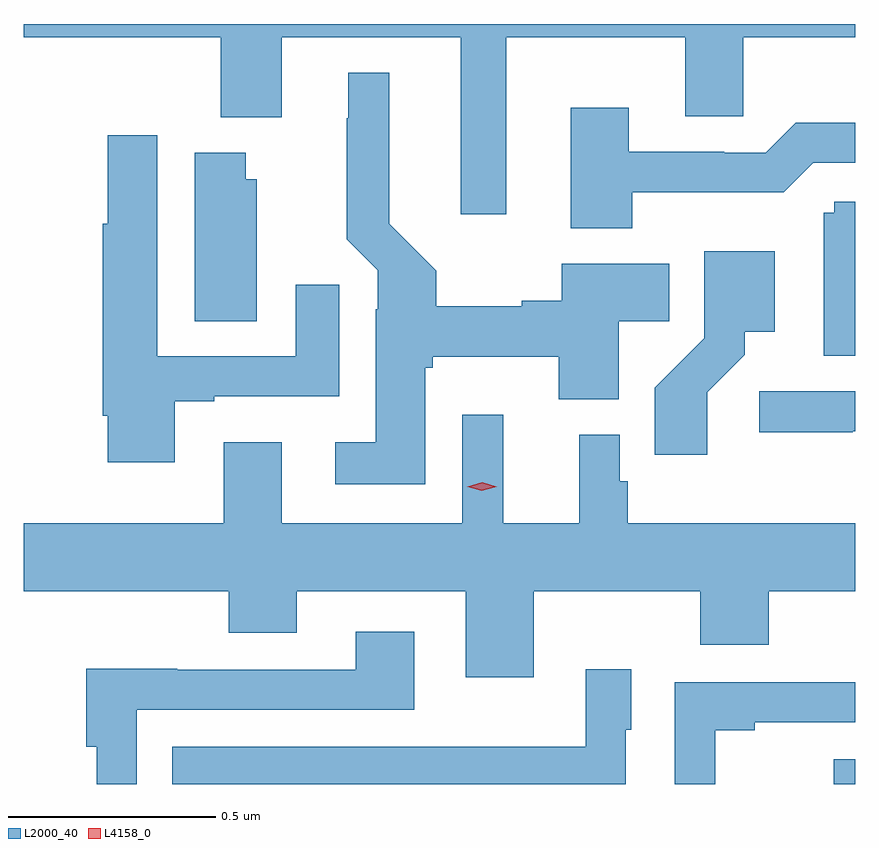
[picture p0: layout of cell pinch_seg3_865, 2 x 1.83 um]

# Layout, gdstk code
import gdstk
lib = gdstk.Library(unit=1e-6, precision=1e-09)
def R(c, l, rs):  # rectangles x0, y0, x1, y1
    for r in rs: c.add(gdstk.rectangle(r[:2], r[2:], *l))
def P(c, l, *ps):  # polygons
    for p in ps: c.add(gdstk.Polygon(p, *l))
L2000_40 = (2000, 40)
L4158_0 = (4158, 0)

pinch_seg3_865 = lib.new_cell('pinch_seg3_865')
R(pinch_seg3_865, L2000_40, [(730.556,747.073,730.608,747.133)])
P(pinch_seg3_865, L2000_40, [(728.608,748.868),(729.082,748.868),(729.082,748.676),(729.229,748.676),(729.229,748.868),(729.659,748.868),(729.659,748.443),(729.769,748.443),(729.769,748.868),(730.199,748.868),(730.199,748.678),(730.338,748.678),(730.338,748.868),(730.608,748.868),(730.608,748.9),(728.608,748.9)],
  [(729.574,748.074),(729.592,748.074),(729.592,748.1),(729.895,748.1),(729.895,747.998),(730.039,747.998),(730.039,748.186),(730.16,748.186),(730.16,748.324),(729.902,748.324),(729.902,748.235),(729.806,748.235),(729.806,748.222),(729.6,748.222),(729.6,748.307),(729.487,748.42),(729.487,748.783),(729.389,748.783),(729.389,748.673),(729.385,748.673),(729.385,748.382),(729.459,748.308),(729.459,748.214),(729.455,748.214),(729.455,747.895),(729.357,747.895),(729.357,747.794),(729.574,747.794)],
  [(730.071,748.496),(730.435,748.496),(730.506,748.566),(730.608,748.566),(730.608,748.663),(730.465,748.663),(730.392,748.59),(730.292,748.59),(730.292,748.593),(730.063,748.593),(730.063,748.699),(729.923,748.699),(729.923,748.409),(730.071,748.409)],
  [(728.971,747.993),(729.067,747.993),(729.067,748.005),(729.367,748.005),(729.367,748.273),(729.263,748.273),(729.263,748.101),(728.929,748.101),(728.929,748.633),(728.81,748.633),(728.81,748.42),(728.798,748.42),(728.798,747.958),(728.81,747.958),(728.81,747.846),(728.971,747.846)],
  [(729.169,748.527),(729.142,748.527),(729.142,748.591),(729.02,748.591),(729.02,748.186),(729.169,748.186)],
  [(730.608,748.473),(730.557,748.473),(730.557,748.446),(730.532,748.446),(730.532,748.102),(730.608,748.102)],
  [(730.252,748.015),(730.342,748.105),(730.342,748.16),(730.414,748.16),(730.414,748.354),(730.245,748.354),(730.245,748.145),(730.126,748.026),(730.126,747.864),(730.252,747.864)],
  [(730.601,747.921),(730.608,747.921),(730.608,748.017),(730.377,748.017),(730.377,747.919),(730.601,747.919)],
  [(729.835,747.536),(730.235,747.536),(730.235,747.408),(730.399,747.408),(730.399,747.536),(730.608,747.536),(730.608,747.7),(730.061,747.7),(730.061,747.801),(730.041,747.801),(730.041,747.913),(729.944,747.913),(729.944,747.7),(729.761,747.7),(729.761,747.961),(729.663,747.961),(729.663,747.7),(729.229,747.7),(729.229,747.895),(729.089,747.895),(729.089,747.7),(728.608,747.7),(728.608,747.536),(729.101,747.536),(729.101,747.437),(729.265,747.437),(729.265,747.536),(729.671,747.536),(729.671,747.33),(729.835,747.33)],
  [(728.88,747.252),(729.547,747.252),(729.547,747.439),(729.407,747.439),(729.407,747.348),(728.977,747.348),(728.977,747.35),(728.759,747.35),(728.759,747.162),(728.784,747.162),(728.784,747.073),(728.88,747.073)],
  [(730.056,747.204),(730.069,747.204),(730.069,747.349),(729.96,747.349),(729.96,747.163),(729.643,747.163),(729.643,747.162),(728.965,747.162),(728.965,747.073),(730.056,747.073)],
  [(730.271,747.202),(730.366,747.202),(730.366,747.222),(730.608,747.222),(730.608,747.318),(730.173,747.318),(730.173,747.073),(730.271,747.073)])
P(pinch_seg3_865, L4158_0, [(729.71,747.778),(729.675,747.788),(729.675,747.788),(729.675,747.788),(729.711,747.798),(729.746,747.788),(729.746,747.787),(729.746,747.787)])

lib.write_gds('pinch_seg3_865.gds')
